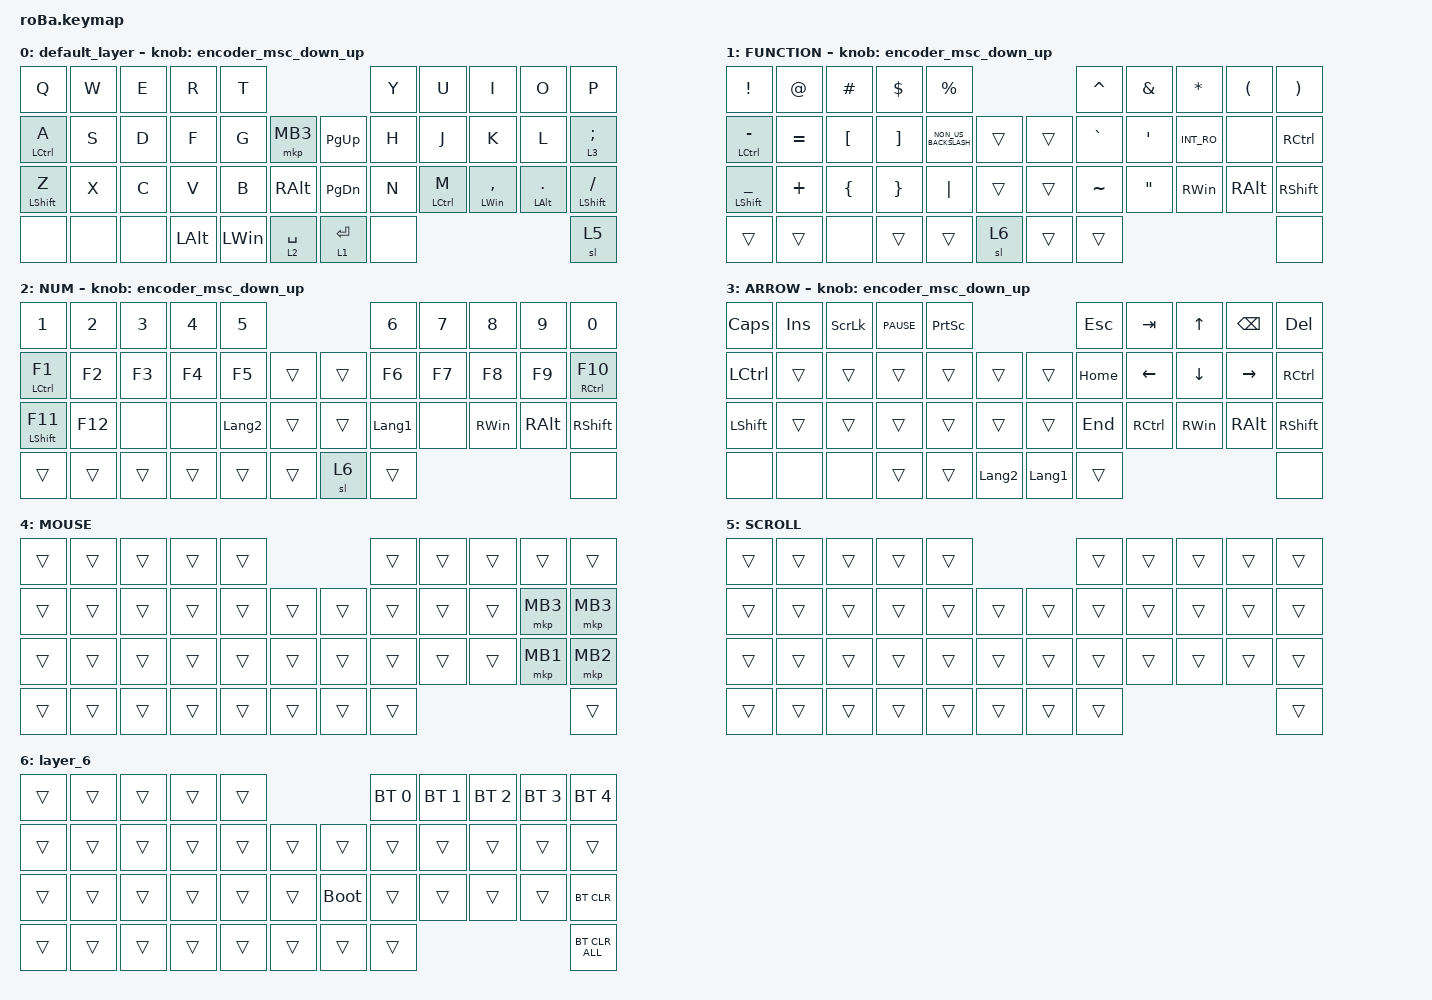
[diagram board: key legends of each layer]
#include <behaviors.dtsi>
#include <dt-bindings/zmk/bt.h>
#include <dt-bindings/zmk/keys.h>
#include <dt-bindings/zmk/pointing.h>

#define ZMK_POINTING_DEFAULT_SCRL_VAL 80

&mt {
    flavor = "balanced";
    quick-tap-ms = <0>;
};

&trackball {
    //automouse-layer = <4>;

    scroll-layers = <5>;

    // arrows {
    //     layers = <3>;
    //     bindings =
    //         <&kp RIGHT_ARROW>,
    //         <&kp LEFT_ARROW>,
    //         <&kp UP_ARROW>,
    //         <&kp DOWN_ARROW>;
    //     tick = <10>;
    //     wait-ms = <5>;
    //     tap-ms = <5>;
    // };
};

/ {
    combos {
        compatible = "zmk,combos";

        cMB1 {
            bindings = <&mkp MB1>;
            key-positions = <20 21>;
        };

        cMB2 {
            bindings = <&mkp MB2>;
            key-positions = <32 33>;
        };
    };

    macros {
        to_layer_0: to_layer_0 {
            compatible = "zmk,behavior-macro-one-param";
            #binding-cells = <1>;
            bindings = <&to 0 &macro_param_1to1 &kp MACRO_PLACEHOLDER>;
            label = "TO_LAYER_0";
        };
    };

    behaviors {
        encoder_msc_down_up: encoder_msc_down_up {
            compatible = "zmk,behavior-sensor-rotate";
            label = "ENCODER_MSC_DOWN_UP";
            #sensor-binding-cells = <0>;
            bindings = <&msc SCRL_DOWN>, <&msc SCRL_UP>;

            tap-ms = <20>;
        };

        encoder_msc_right_left: encoder_msc_right_left {
            compatible = "zmk,behavior-sensor-rotate";
            label = "ENCODER_MSC_RIGHT_LEFT";
            #sensor-binding-cells = <0>;
            bindings = <&msc SCRL_RIGHT>, <&msc SCRL_LEFT>;

            tap-ms = <20>;
        };

        lt_to_layer_0: lt_to_layer_0 {
            compatible = "zmk,behavior-hold-tap";
            label = "LAYER_TAP_TO_0";
            bindings = <&mo>, <&to_layer_0>;

            #binding-cells = <2>;
            tapping-term-ms = <200>;
        };
    };

    keymap {
        compatible = "zmk,keymap";

        default_layer {
            bindings = <
&kp Q             &kp W  &kp E  &kp R         &kp T                                           &kp Y  &kp U        &kp I               &kp O             &kp P
&mt LCTRL A       &kp S  &kp D  &kp F         &kp G         &mkp MB3           &kp PAGE_UP    &kp H  &kp J        &kp K               &kp L             &lt 3 SEMICOLON
&mt LEFT_SHIFT Z  &kp X  &kp C  &kp V         &kp B         &kp RIGHT_ALT      &kp PAGE_DOWN  &kp N  &mt LCTRL M  &mt LEFT_WIN COMMA  &mt LEFT_ALT DOT  &mt LEFT_SHIFT SLASH
&none             &none  &none  &kp LEFT_ALT  &kp LEFT_WIN  &lt 2 SPACE        &lt 1 ENTER    &none                                                     &sl 5
            >;

            sensor-bindings = <&encoder_msc_down_up>;
        };

        FUNCTION {
            bindings = <
&kp EXCLAMATION            &kp AT_SIGN  &kp HASH          &kp DOLLAR         &kp PERCENT                               &kp CARET  &kp AMPERSAND      &kp ASTERISK   &kp LEFT_PARENTHESIS  &kp RIGHT_PARENTHESIS
&mt LCTRL MINUS            &kp EQUAL    &kp LEFT_BRACKET  &kp RIGHT_BRACKET  &kp NON_US_BACKSLASH  &trans      &trans  &kp GRAVE  &kp SQT            &kp INT_RO     &none                 &kp RCTRL
&mt LEFT_SHIFT UNDERSCORE  &kp PLUS     &kp LEFT_BRACE    &kp RIGHT_BRACE    &kp PIPE              &trans      &trans  &kp TILDE  &kp DOUBLE_QUOTES  &kp RIGHT_WIN  &kp RIGHT_ALT         &kp RIGHT_SHIFT
&trans                     &trans       &none             &trans             &trans                &sl 6       &trans  &trans                                                             &none
            >;

            sensor-bindings = <&encoder_msc_down_up>;
        };

        NUM {
            bindings = <
&kp NUMBER_1         &kp NUMBER_2  &kp NUMBER_3  &kp NUMBER_4  &kp NUMBER_5                        &kp NUMBER_6    &kp N7  &kp NUMBER_8   &kp NUMBER_9   &kp NUMBER_0
&mt LEFT_CONTROL F1  &kp F2        &kp F3        &kp F4        &kp F5          &trans      &trans  &kp F6          &kp F7  &kp F8         &kp F9         &mt RCTRL F10
&mt LEFT_SHIFT F11   &kp F12       &none         &none         &kp LANGUAGE_2  &trans      &trans  &kp LANGUAGE_1  &none   &kp RIGHT_WIN  &kp RIGHT_ALT  &kp RIGHT_SHIFT
&trans               &trans        &trans        &trans        &trans          &trans      &sl 6   &trans                                                &none
            >;

            sensor-bindings = <&encoder_msc_down_up>;
        };

        ARROW {
            bindings = <
&kp CAPS        &kp INS  &kp SCROLLLOCK  &kp C_PAUSE  &kp PRINTSCREEN                                      &kp ESCAPE  &kp TAB    &kp UP_ARROW   &kp BACKSPACE  &kp DELETE
&kp LCTRL       &trans   &trans          &trans       &trans           &trans              &trans          &kp HOME    &kp LEFT   &kp DOWN       &kp RIGHT      &kp RCTRL
&kp LEFT_SHIFT  &trans   &trans          &trans       &trans           &trans              &trans          &kp END     &kp RCTRL  &kp RIGHT_WIN  &kp RIGHT_ALT  &kp RIGHT_SHIFT
&none           &none    &none           &trans       &trans           &kp LANGUAGE_2      &kp LANGUAGE_1  &trans                                               &none
            >;

            sensor-bindings = <&encoder_msc_down_up>;
        };

        MOUSE {
            bindings = <
&trans  &trans  &trans  &trans  &trans                      &trans  &trans  &trans  &trans    &trans
&trans  &trans  &trans  &trans  &trans  &trans      &trans  &trans  &trans  &trans  &mkp MB3  &mkp MB3
&trans  &trans  &trans  &trans  &trans  &trans      &trans  &trans  &trans  &trans  &mkp MB1  &mkp MB2
&trans  &trans  &trans  &trans  &trans  &trans      &trans  &trans                            &trans
            >;
        };

        SCROLL {
            bindings = <
&trans  &trans  &trans  &trans  &trans                      &trans  &trans  &trans  &trans  &trans
&trans  &trans  &trans  &trans  &trans  &trans      &trans  &trans  &trans  &trans  &trans  &trans
&trans  &trans  &trans  &trans  &trans  &trans      &trans  &trans  &trans  &trans  &trans  &trans
&trans  &trans  &trans  &trans  &trans  &trans      &trans  &trans                          &trans
            >;
        };

        layer_6 {
            bindings = <
&trans  &trans  &trans  &trans  &trans                           &bt BT_SEL 0  &bt BT_SEL 1  &bt BT_SEL 2  &bt BT_SEL 3  &bt BT_SEL 4
&trans  &trans  &trans  &trans  &trans  &trans      &trans       &trans        &trans        &trans        &trans        &trans
&trans  &trans  &trans  &trans  &trans  &trans      &bootloader  &trans        &trans        &trans        &trans        &bt BT_CLR
&trans  &trans  &trans  &trans  &trans  &trans      &trans       &trans                                                  &bt BT_CLR_ALL
            >;
        };
    };
};
